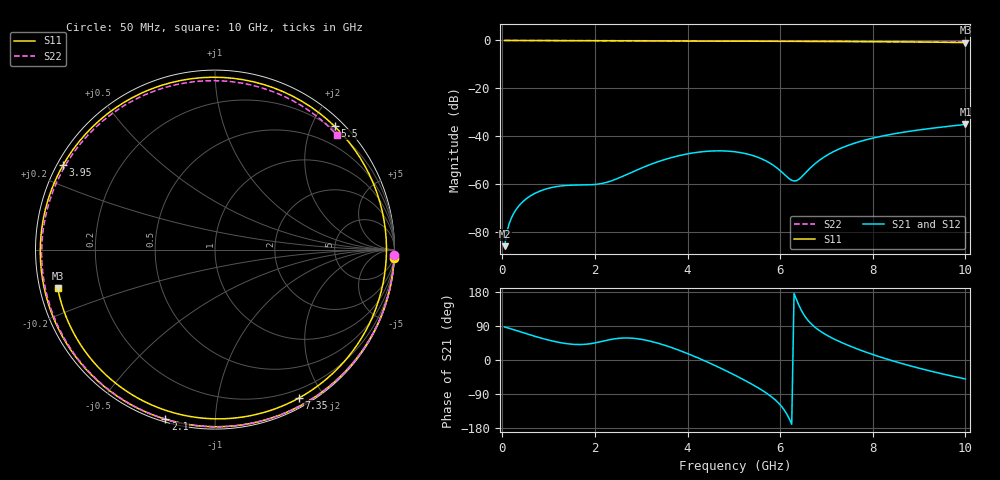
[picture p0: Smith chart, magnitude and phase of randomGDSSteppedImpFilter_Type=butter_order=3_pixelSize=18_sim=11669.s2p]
! freq	dB(S11)	phase(S11)	dB(S12)	phase(S12)
!  dB(S21)	phase(S21)	dB(S22)	phase(S22)
!S-par simulation data
#  GHz  S  DB  R 50
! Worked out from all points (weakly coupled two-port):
!   200 points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, 50 MHz to 10 GHz, reference 50 ohm
!   highest |S21| = -35.06 dB at 10 GHz (marker M1); lowest = -85.9 dB at 50 MHz (marker M2)
!   lowest |S11| = -0.9 dB at 10 GHz (marker M3), VSWR 19.46, Z = 2.61 - j5.98 ohm
!   |S11| at or under -10 dB: nowhere
!   |S22| runs from -0.6 to 0.0 dB; largest |S21 - S12| = 0
!   S11 on the Smith chart (normalised r, x): 50 MHz: 1, -44; 2.1 GHz: 0.01, -0.75; 3.95 GHz: 0.02, +0.26; 5.5 GHz: 0.14, +2.36; 7.35 GHz: 0.10, -1.71; 10 GHz: 0.05, -0.12
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0.05  -0.01 -2.6  -85.87 87.2  -85.87 87.2  -0.00 -1.6
0.1  -0.01 -5.2  -79.91 85.5  -79.91 85.5  -0.01 -3.2
0.2  -0.02 -10.3  -73.95 81.7  -73.95 81.7  -0.01 -6.3
0.3  -0.02 -15.4  -70.52 77.8  -70.52 77.8  -0.01 -9.4
0.65  -0.04 -33.2  -64.39 64.5  -64.39 64.5  -0.02 -20.4
1.2  -0.08 -61.0  -60.90 47.1  -60.90 47.1  -0.05 -37.4
1.75  -0.11 -88.6  -60.33 41.1  -60.33 41.1  -0.07 -54.0
2.1  -0.13 -106.3  -59.87 47.6  -59.87 47.6  -0.08 -64.4
2.8  -0.18 -142.7  -54.98 57.6  -54.98 57.6  -0.11 -84.8
3.4  -0.23 -176.0  -50.37 42.9  -50.37 42.9  -0.13 -101.8
3.95  -0.28 151.0  -47.53 19.4  -47.53 19.4  -0.16 -117.2
4.55  -0.33 111.6  -46.12 -12.1  -46.12 -12.1  -0.19 -133.9
5.05  -0.36 77.0  -46.54 -41.8  -46.54 -41.8  -0.22 -147.8
5.5  -0.38 45.9  -48.62 -71.7  -48.62 -71.7  -0.25 -160.6
5.9  -0.39 19.3  -52.76 -106.0  -52.76 -106.0  -0.28 -172.2
6.3  -0.40 -5.5  -58.68 175.6  -58.68 175.6  -0.32 175.9
6.7  -0.41 -28.1  -52.35 91.9  -52.35 91.9  -0.35 163.6
7.35  -0.45 -60.4  -44.67 44.9  -44.67 44.9  -0.41 142.5
7.85  -0.49 -82.3  -41.50 20.9  -41.50 20.9  -0.45 125.3
8.35  -0.55 -102.4  -39.35 0.7  -39.35 0.7  -0.49 107.2
9.15  -0.68 -132.9  -36.97 -26.3  -36.97 -26.3  -0.55 76.7
10  -0.89 -166.3  -35.06 -50.0  -35.06 -50.0  -0.61 43.3
